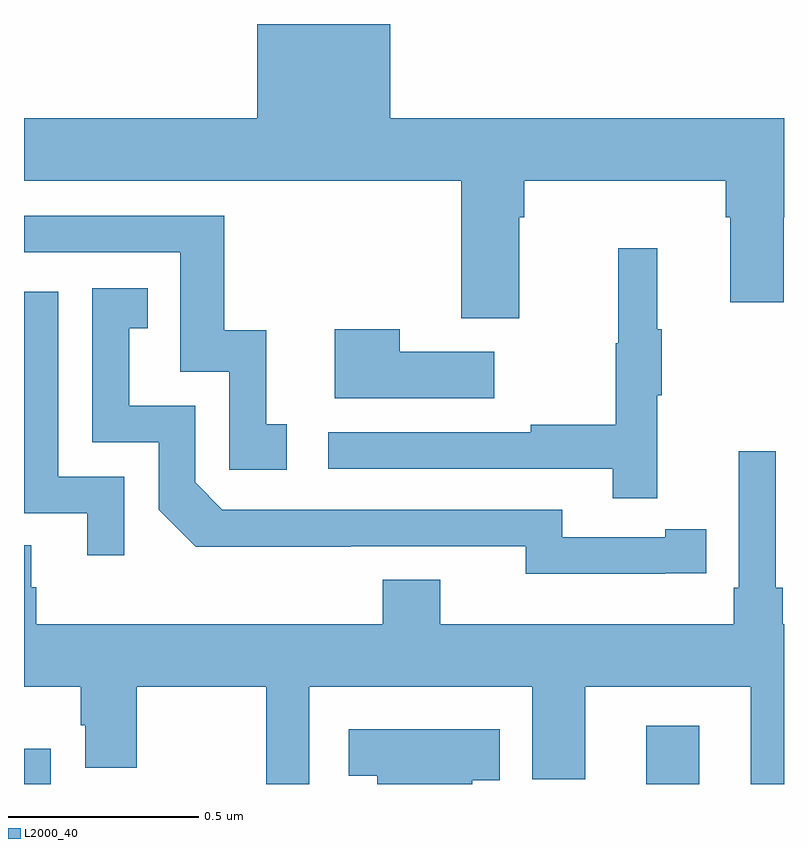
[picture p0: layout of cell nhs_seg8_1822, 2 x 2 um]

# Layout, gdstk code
import gdstk
lib = gdstk.Library(unit=1e-6, precision=1e-09)
def R(c, l, rs):  # rectangles x0, y0, x1, y1
    for r in rs: c.add(gdstk.rectangle(r[:2], r[2:], *l))
def P(c, l, *ps):  # polygons
    for p in ps: c.add(gdstk.Polygon(p, *l))
L2000_40 = (2000, 40)

nhs_seg8_1822 = lib.new_cell('nhs_seg8_1822')
R(nhs_seg8_1822, L2000_40, [(135,1126.9,135.07,1126.993), (136.637,1126.9,136.777,1127.053)])
P(nhs_seg8_1822, L2000_40, [(136.303,1128.392),(136.316,1128.392),(136.316,1128.488),(136.847,1128.488),(136.847,1128.392),(136.859,1128.392),(136.859,1128.168),(136.999,1128.168),(136.999,1128.392),(137,1128.392),(137,1128.652),(135.964,1128.652),(135.964,1128.9),(135.614,1128.9),(135.614,1128.652),(135,1128.652),(135,1128.488),(136.151,1128.488),(136.151,1128.126),(136.303,1128.126)],
  [(135.691,1127.847),(135.638,1127.847),(135.638,1128.094),(135.527,1128.094),(135.527,1128.396),(135,1128.396),(135,1128.3),(135.411,1128.3),(135.411,1127.985),(135.54,1127.985),(135.54,1127.727),(135.691,1127.727)],
  [(136.667,1127.923),(136.678,1127.923),(136.678,1128.097),(136.667,1128.097),(136.667,1128.31),(136.564,1128.31),(136.564,1128.06),(136.557,1128.06),(136.557,1127.846),(136.333,1127.846),(136.333,1127.826),(135.801,1127.826),(135.801,1127.73),(136.549,1127.73),(136.549,1127.652),(136.667,1127.652)],
  [(136.688,1127.454),(136.796,1127.454),(136.796,1127.57),(136.688,1127.57),(136.688,1127.55),(136.416,1127.55),(136.416,1127.622),(135.522,1127.622),(135.45,1127.694),(135.45,1127.895),(135.277,1127.895),(135.277,1128.099),(135.326,1128.099),(135.326,1128.205),(135.18,1128.205),(135.18,1127.799),(135.354,1127.799),(135.354,1127.622),(135.452,1127.525),(135.86,1127.525),(135.86,1127.526),(136.32,1127.526),(136.32,1127.453),(136.688,1127.453)],
  [(135.264,1127.709),(135.09,1127.709),(135.09,1128.195),(135,1128.195),(135,1127.613),(135.167,1127.613),(135.167,1127.502),(135.264,1127.502)],
  [(136.237,1128.037),(135.989,1128.037),(135.989,1128.097),(135.818,1128.097),(135.818,1127.915),(136.237,1127.915)],
  [(135.751,1127.156),(136.337,1127.156),(136.337,1126.913),(136.477,1126.913),(136.477,1127.156),(136.913,1127.156),(136.913,1126.9),(137,1126.9),(137,1127.32),(136.997,1127.32),(136.997,1127.416),(136.978,1127.416),(136.978,1127.776),(136.881,1127.776),(136.881,1127.416),(136.868,1127.416),(136.868,1127.32),(136.096,1127.32),(136.096,1127.437),(135.944,1127.437),(135.944,1127.32),(135.032,1127.32),(135.032,1127.418),(135.019,1127.418),(135.019,1127.528),(135,1127.528),(135,1127.156),(135.149,1127.156),(135.149,1127.055),(135.161,1127.055),(135.161,1126.943),(135.297,1126.943),(135.297,1127.156),(135.637,1127.156),(135.637,1126.9),(135.751,1126.9)],
  [(136.18,1126.91),(136.252,1126.91),(136.252,1127.044),(135.855,1127.044),(135.855,1126.922),(135.929,1126.922),(135.929,1126.9),(136.18,1126.9)])

lib.write_gds('nhs_seg8_1822.gds')
